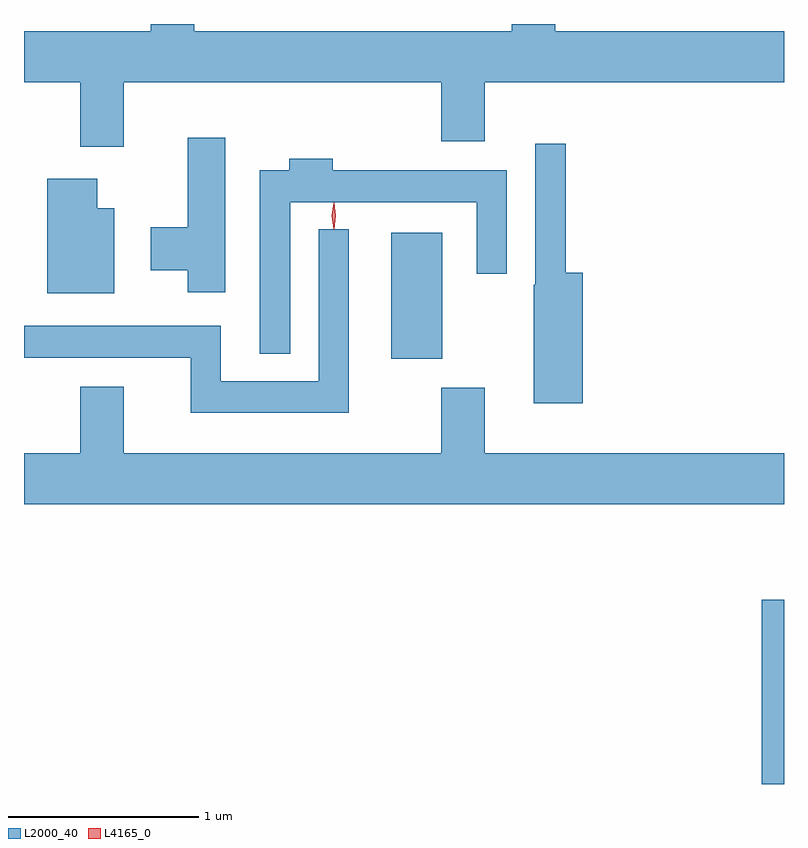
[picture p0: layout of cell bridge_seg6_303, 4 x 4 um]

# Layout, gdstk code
import gdstk
lib = gdstk.Library(unit=1e-6, precision=1e-09)
def R(c, l, rs):  # rectangles x0, y0, x1, y1
    for r in rs: c.add(gdstk.rectangle(r[:2], r[2:], *l))
def P(c, l, *ps):  # polygons
    for p in ps: c.add(gdstk.Polygon(p, *l))
L2000_40 = (2000, 40)
L4165_0 = (4165, 0)

bridge_seg6_303 = lib.new_cell('bridge_seg6_303')
R(bridge_seg6_303, L2000_40, [(1272.076,1553.003,1272.194,1553.974), (1270.126,1555.241,1270.394,1555.904)])
P(bridge_seg6_303, L2000_40, [(1268.719,1556.696),(1270.391,1556.696),(1270.391,1556.386),(1270.619,1556.386),(1270.619,1556.696),(1272.194,1556.696),(1272.194,1556.964),(1270.989,1556.964),(1270.989,1557.003),(1270.761,1557.003),(1270.761,1556.964),(1269.089,1556.964),(1269.089,1557.003),(1268.861,1557.003),(1268.861,1556.964),(1268.194,1556.964),(1268.194,1556.696),(1268.491,1556.696),(1268.491,1556.356),(1268.719,1556.356)],
  [(1269.254,1556.404),(1269.056,1556.404),(1269.056,1555.934),(1268.861,1555.934),(1268.861,1555.706),(1269.056,1555.706),(1269.056,1555.591),(1269.254,1555.591)],
  [(1271.134,1555.694),(1271.044,1555.694),(1271.044,1556.373),(1270.886,1556.373),(1270.886,1555.63),(1270.876,1555.63),(1270.876,1555.006),(1271.134,1555.006)],
  [(1269.594,1556.066),(1270.576,1556.066),(1270.576,1555.688),(1270.734,1555.688),(1270.734,1556.234),(1269.819,1556.234),(1269.819,1556.294),(1269.591,1556.294),(1269.591,1556.234),(1269.436,1556.234),(1269.436,1555.268),(1269.594,1555.268)],
  [(1268.669,1556.034),(1268.579,1556.034),(1268.579,1556.189),(1268.316,1556.189),(1268.316,1555.586),(1268.669,1555.586)],
  [(1269.904,1555.923),(1269.746,1555.923),(1269.746,1555.124),(1269.229,1555.124),(1269.229,1555.414),(1268.194,1555.414),(1268.194,1555.246),(1269.071,1555.246),(1269.071,1554.956),(1269.904,1554.956)],
  [(1272.194,1554.744),(1270.619,1554.744),(1270.619,1555.089),(1270.391,1555.089),(1270.391,1554.744),(1268.719,1554.744),(1268.719,1555.094),(1268.491,1555.094),(1268.491,1554.744),(1268.194,1554.744),(1268.194,1554.476),(1272.194,1554.476)])
P(bridge_seg6_303, L4165_0, [(1269.825,1555.924),(1269.825,1555.924),(1269.815,1555.993),(1269.825,1556.062),(1269.825,1556.063),(1269.826,1556.062),(1269.835,1555.993),(1269.826,1555.924)],
  [(1269.824,1555.927),(1269.815,1555.994),(1269.824,1556.06),(1269.825,1556.061),(1269.825,1556.06),(1269.835,1555.994),(1269.825,1555.927),(1269.825,1555.927)])

lib.write_gds('bridge_seg6_303.gds')
